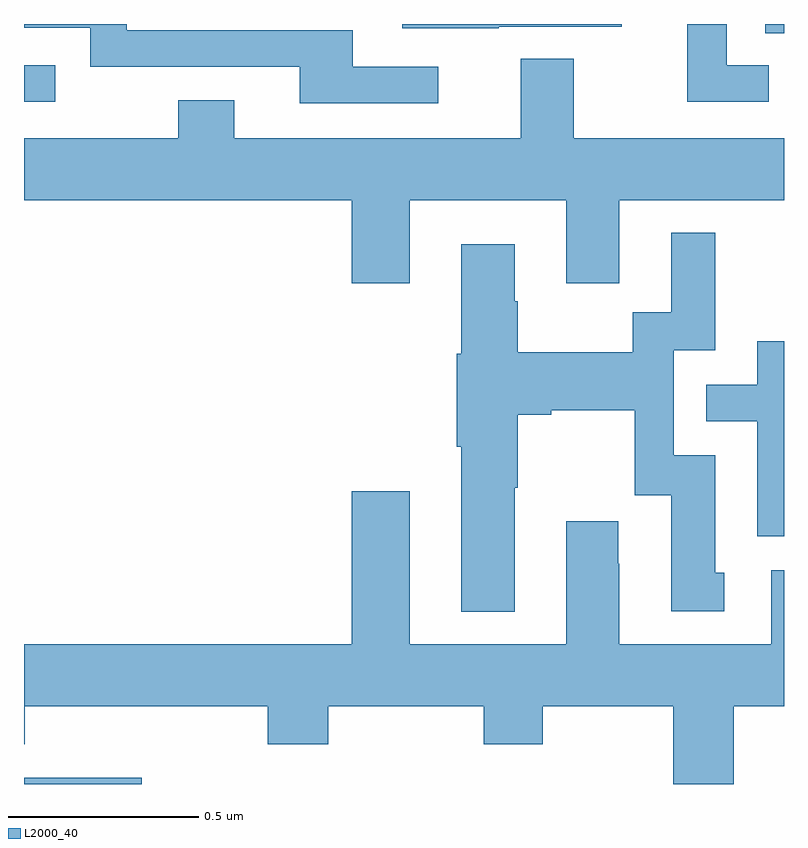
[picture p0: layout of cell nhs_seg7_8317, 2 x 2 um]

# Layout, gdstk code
import gdstk
lib = gdstk.Library(unit=1e-6, precision=1e-09)
def R(c, l, rs):  # rectangles x0, y0, x1, y1
    for r in rs: c.add(gdstk.rectangle(r[:2], r[2:], *l))
def P(c, l, *ps):  # polygons
    for p in ps: c.add(gdstk.Polygon(p, *l))
L2000_40 = (2000, 40)

nhs_seg7_8317 = lib.new_cell('nhs_seg7_8317')
R(nhs_seg7_8317, L2000_40, [(222,1079,222.31,1079.016), (222,1080.795,222.082,1080.891), (223.95,1080.976,224,1081)])
P(nhs_seg7_8317, L2000_40, [(223.96,1080.891),(223.849,1080.891),(223.849,1081),(223.745,1081),(223.745,1080.795),(223.96,1080.795)],
  [(223.249,1080.993),(223.573,1080.993),(223.573,1081),(222.995,1081),(222.995,1080.989),(223.249,1080.989)],
  [(223.09,1080.888),(222.865,1080.888),(222.865,1080.984),(222.27,1080.984),(222.27,1081),(222,1081),(222,1080.99),(222.174,1080.99),(222.174,1080.888),(222.725,1080.888),(222.725,1080.792),(223.09,1080.792)],
  [(223.015,1080.536),(223.427,1080.536),(223.427,1080.318),(223.567,1080.318),(223.567,1080.536),(224,1080.536),(224,1080.7),(223.447,1080.7),(223.447,1080.908),(223.307,1080.908),(223.307,1080.7),(222.553,1080.7),(222.553,1080.799),(222.406,1080.799),(222.406,1080.7),(222,1080.7),(222,1080.536),(222.863,1080.536),(222.863,1080.318),(223.015,1080.318)],
  [(223.291,1079.779),(223.299,1079.779),(223.299,1079.972),(223.387,1079.972),(223.387,1079.984),(223.607,1079.984),(223.607,1079.76),(223.703,1079.76),(223.703,1079.454),(223.843,1079.454),(223.843,1079.556),(223.819,1079.556),(223.819,1079.865),(223.71,1079.865),(223.71,1080.141),(223.819,1080.141),(223.819,1080.451),(223.703,1080.451),(223.703,1080.242),(223.602,1080.242),(223.602,1080.136),(223.299,1080.136),(223.299,1080.27),(223.291,1080.27),(223.291,1080.421),(223.151,1080.421),(223.151,1080.132),(223.139,1080.132),(223.139,1079.888),(223.151,1079.888),(223.151,1079.453),(223.291,1079.453)],
  [(224,1080.165),(223.929,1080.165),(223.929,1080.051),(223.795,1080.051),(223.795,1079.955),(223.929,1079.955),(223.929,1079.652),(224,1079.652)],
  [(223.868,1079.204),(224,1079.204),(224,1079.563),(223.967,1079.563),(223.967,1079.368),(223.567,1079.368),(223.567,1079.579),(223.564,1079.579),(223.564,1079.692),(223.427,1079.692),(223.427,1079.368),(223.015,1079.368),(223.015,1079.77),(222.863,1079.77),(222.863,1079.368),(222,1079.368),(222,1079.105),(222.002,1079.105),(222.002,1079.204),(222.641,1079.204),(222.641,1079.105),(222.801,1079.105),(222.801,1079.204),(223.21,1079.204),(223.21,1079.105),(223.365,1079.105),(223.365,1079.204),(223.708,1079.204),(223.708,1079),(223.868,1079)])

lib.write_gds('nhs_seg7_8317.gds')
